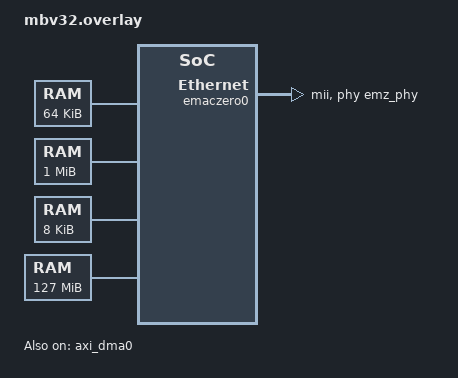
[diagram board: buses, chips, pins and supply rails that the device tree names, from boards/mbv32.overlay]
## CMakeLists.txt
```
# SPDX-License-Identifier: Apache-2.0
# Copyright (c) 2026 Leonardo Capossio - bard0 design

cmake_minimum_required(VERSION 3.20.0)

list(APPEND ZEPHYR_EXTRA_MODULES ${CMAKE_CURRENT_LIST_DIR}/..)

find_package(Zephyr REQUIRED HINTS $ENV{ZEPHYR_BASE})
project(emacz_zephyr_app)

target_sources(app PRIVATE src/main.c src/provision.c)
target_sources_ifdef(CONFIG_EMACZ_APP_PC_SAMPLE app PRIVATE src/pc_sample.c)

# Profiled hot functions packed at the start of .text (EMACZ_APP_HOT_TEXT)
set(hot_text ${CMAKE_CURRENT_LIST_DIR}/boards/${BOARD}_hot_text.ld)
if(CONFIG_EMACZ_APP_HOT_TEXT AND EXISTS ${hot_text})
  zephyr_linker_sources(TEXT_SECTIONS ${hot_text})
endif()
```

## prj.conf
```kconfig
# SPDX-License-Identifier: Apache-2.0
# Copyright (c) 2026 Leonardo Capossio - bard0 design

CONFIG_MAIN_STACK_SIZE=2048
CONFIG_HEAP_MEM_POOL_SIZE=4096
CONFIG_SPEED_OPTIMIZATIONS=y
CONFIG_CRC=y
CONFIG_UART_CONSOLE=n
CONFIG_NETWORKING=y
CONFIG_NET_L2_ETHERNET=y
# Room for the Ethernet header in each IP packet's buffer: the driver copies
# one word-aligned frame into its DMA buffer instead of the IP packet to
# offset 14, and the UDP payload lands 2 bytes into a word, as on RX.
CONFIG_NET_L2_ETHERNET_RESERVE_HEADER=y
CONFIG_DMA=y
CONFIG_EMACZ_APP_RAW_UART=y
# emacZero driver from deps/zephyr (patches/zephyr/0004). RX buffers live in
# the overlay's emz_bufs region: 64 stay posted to S2MM and up to 56 more are
# lent to the stack; past that, frames are copied into the 8 copy buffers.
CONFIG_ETH_EMACZERO=y
CONFIG_ETH_EMACZERO_RX_BUFFER_COUNT=128
CONFIG_ETH_EMACZERO_RX_DMA_POST_COUNT=64
CONFIG_ETH_EMACZERO_RX_ZERO_COPY_MAX=56
CONFIG_ETH_EMACZERO_RX_COPY_BUFFER_COUNT=8
CONFIG_ETH_EMACZERO_TX_BUFFER_COUNT=16
# Under a flood the cooperative RX path (driver RX thread, UDP sink) would
# keep the CPU, starving the control thread and its TX benchmark (priority
# 4). After 20 ms of RX in a row the RX thread drops to priority 4 and back,
# so a ready sender gets its 20 ms time slice: roughly equal turns on any
# CPU. With no sender ready, RX loses nothing.
CONFIG_ETH_EMACZERO_RX_BUDGET_US=20000
CONFIG_ETH_EMACZERO_RX_YIELD_PRIORITY=4
CONFIG_TIMESLICING=y
CONFIG_TIMESLICE_SIZE=20
CONFIG_TIMESLICE_PRIORITY=0
CONFIG_NET_IPV4=y
CONFIG_NET_IPV4_MTU=1500
CONFIG_NET_IPV6=n
CONFIG_NET_TCP=n
CONFIG_NET_UDP_CHECKSUM=n
CONFIG_NET_SOCKETS=y
CONFIG_NET_ZPERF=n
# The perf-stats block mirrors the stack's counters, read through net_mgmt
CONFIG_NET_STATISTICS=y
CONFIG_NET_STATISTICS_ETHERNET=y
CONFIG_NET_STATISTICS_USER_API=y
CONFIG_NET_MGMT=y
CONFIG_NET_PKT_FILTER=n
CONFIG_NET_TC_RX_COUNT=0
CONFIG_NET_TC_TX_COUNT=0
# One per frame the driver can have in the stack: lent plus copied, and spare
CONFIG_NET_PKT_RX_COUNT=96
CONFIG_NET_PKT_TX_COUNT=24
CONFIG_NET_BUF_RX_COUNT=32
CONFIG_NET_BUF_TX_COUNT=64
CONFIG_NET_BUF_DATA_SIZE=1600
# The count is never reached (8 RX buffers posted, 16 TX buffers), so the
# delay, 32 * 125 DMA clocks (40 us), raises the interrupts: about one per
# frame on a 100 Mbit/s link. Every 4 frames measured no faster on the Arty
# (README, Throughput)
CONFIG_DMA_XILINX_AXI_DMA_INTERRUPT_THRESHOLD=32
CONFIG_DMA_XILINX_AXI_DMA_INTERRUPT_TIMEOUT=32
# Fixed descriptor rings. Each must be larger than what the emacZero driver
# keeps queued on it (RX_DMA_POST_COUNT, TX_BUFFER_COUNT), so one descriptor
# always stays free behind the outstanding ones.
CONFIG_DMA_XILINX_AXI_DMA_SG_DESCRIPTOR_NUM_RX=128
CONFIG_DMA_XILINX_AXI_DMA_SG_DESCRIPTOR_NUM_TX=32
CONFIG_NET_CONFIG_SETTINGS=n
CONFIG_LOG=n
CONFIG_NET_LOG=n
CONFIG_TEST_RANDOM_GENERATOR=y

# Per-board timer frequency lives in app/boards/<board>.conf so this file
# stays CPU-neutral across the mbv32 and arty_a7_vex targets.
```

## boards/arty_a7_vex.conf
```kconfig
# SPDX-License-Identifier: Apache-2.0
# Copyright (c) 2026 Leonardo Capossio - bard0 design

# The SoC domain (CPU, AXI fabrics, peripherals, riscv_mtimer) runs at
# 100 MHz from clock_root/clk100. mtimer/aclk is tied to that same net, so
# this is the machine-timer input frequency. MIG's ui_clk stays at
# 81.25 MHz and is crossed inside ddr_axi_ic (smartconnect, NUM_CLKS 2) --
# the CDC is real, it is just not on the timer path.
CONFIG_SYS_CLOCK_HW_CYCLES_PER_SEC=100000000

# The emacZero frame buffers sit in the D-cache aperture (emz_bufs in the
# overlay): the AXI DMA driver cleans each TX buffer before MM2S reads it
# and invalidates each RX buffer around the S2MM write.
CONFIG_CACHE_MANAGEMENT=y
CONFIG_DMA_XILINX_AXI_DMA_MANUAL_CACHE_COHERENCY=y

# MM2S sends each frame straight from the network buffer that holds it
# (cacheable RAM, cleaned by the AXI DMA driver) instead of a copy in
# emz_bufs.
CONFIG_ETH_EMACZERO_TX_ZERO_COPY=y
```

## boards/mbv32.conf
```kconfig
# SPDX-License-Identifier: Apache-2.0
# Copyright (c) 2026 Leonardo Capossio - bard0 design

# The AXI Timer runs on the shell's 100 MHz SoC clock (SOC_CLK_HZ in
# hardware/scripts/build_arty_a7_mbv.py). Firmware-visible cycles_per_sec must
# match it, or every board-derived rate is biased.
CONFIG_SYS_CLOCK_HW_CYCLES_PER_SEC=100000000

# The upstream board leaves serial off; the status prints use the UARTLite.
# With a UART driver on, the mbv32 SoC selects UART_CONSOLE, overriding
# prj.conf: only the boot banner and fault dumps reach it, as the app
# does not printk.
CONFIG_SERIAL=y
CONFIG_UART_CONSOLE=y

# The emacZero frame buffers sit in the D-cache aperture (emz_bufs in the
# overlay): the AXI DMA driver cleans each TX buffer before MM2S reads it
# and invalidates each RX buffer around the S2MM write.
CONFIG_CACHE_MANAGEMENT=y
CONFIG_DMA_XILINX_AXI_DMA_MANUAL_CACHE_COHERENCY=y

# MM2S sends each frame straight from the network buffer that holds it
# (cacheable RAM, cleaned by the AXI DMA driver) instead of a copy in
# emz_bufs.
CONFIG_ETH_EMACZERO_TX_ZERO_COPY=y
```

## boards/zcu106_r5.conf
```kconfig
# SPDX-License-Identifier: Apache-2.0
# Copyright (c) 2026 Leonardo Capossio - bard0 design

# The frame buffers are cacheable (zcu106_r5.overlay) and the DMA does not
# snoop the D-cache: the AXI DMA driver cleans TX buffers before MM2S reads
# them and invalidates RX buffers before and after S2MM writes them.
CONFIG_DMA_XILINX_AXI_DMA_MANUAL_CACHE_COHERENCY=y
```

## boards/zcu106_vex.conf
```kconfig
# SPDX-License-Identifier: Apache-2.0
# Copyright (c) 2026 Leonardo Capossio - bard0 design

# The emacZero frame buffers sit in the D-cache aperture (emz_bufs in the
# overlay): the AXI DMA driver cleans each TX buffer before MM2S reads it
# and invalidates each RX buffer around the S2MM write.
CONFIG_CACHE_MANAGEMENT=y
CONFIG_DMA_XILINX_AXI_DMA_MANUAL_CACHE_COHERENCY=y

# MM2S sends each frame straight from the network buffer that holds it
# (cacheable RAM, cleaned by the AXI DMA driver) instead of a copy in
# emz_bufs.
CONFIG_ETH_EMACZERO_TX_ZERO_COPY=y
```

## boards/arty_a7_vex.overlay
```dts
/*
 * SPDX-License-Identifier: Apache-2.0
 * Copyright (c) 2026 Leonardo Capossio - bard0 design
 *
 * App-side overlay for arty_a7_vex. Mirrors mbv32.overlay's emacZero/DMA
 * layout with two differences:
 *   - IRQ index order matches hardware/scripts/build_arty_a7_vex.py's
 *     xlconcat (uart=0, gpio=1, mm2s=2, s2mm=3, emaczero=4), NOT the mbv
 *     shell's numbering.
 *   - There is only one AXI bus root in the DTS (soc/simple-bus), so we
 *     add nodes directly to the base DTS's root (no &axi label needed).
 *
 * Address map (verified against build_arty_a7_vex.py):
 *   emacZero        @ 0x44A00000
 *   AXI DMA         @ 0x41E00000
 *   axis_rx_stats   @ 0x41F00000
 *   AXI INTC        @ 0x41200000
 *   UARTLite        @ 0x40600000
 *   DDR             @ 0x90000000 (127 MiB Zephyr, then the 1 MiB frame
 *                     buffers at the top of the D-cache aperture; the
 *                     uncached window at 0x9F000000 holds the 64 KiB SG
 *                     descriptors and the 8 KiB host page at 0x9FFFE000)
 */

/ {
	/* Uncached (outside the CPU D-cache aperture) home for the AXI DMA
	 * scatter-gather descriptor rings.
	 */
	dma_desc: memory@9f000000 {
		compatible = "zephyr,memory-region";
		reg = <0x9f000000 0x10000>;
		zephyr,memory-region = "DMA_DESC";
	};

	/* emacZero RX and TX packet buffers, in the top 1 MiB of the D-cache
	 * aperture (0x90000000-0x97FFFFFF): the stack's copies out of and into
	 * them run on cached lines, and the DMA driver keeps them coherent
	 * (CACHE_MANAGEMENT in arty_a7_vex.conf).
	 */
	emz_bufs: memory@97f00000 {
		compatible = "zephyr,memory-region";
		reg = <0x97f00000 0x100000>;
		zephyr,memory-region = "EMZ_BUFFERS";
	};

	/* Host-visible page at fixed addresses the host tools reach over
	 * JTAG-AXI: the provisioning mailbox, then the app's perf stats.
	 */
	emz_hostio: memory@9fffe000 {
		compatible = "zephyr,memory-region";
		reg = <0x9fffe000 0x2000>;
		zephyr,memory-region = "EMZ_HOSTIO";
	};

	/* The MII PHY is not managed by software; the link is fixed at
	 * 100 Mbit/s full duplex. The parent node only supplies the address
	 * cells for the PHY's reg.
	 */
	emz_phy_bus {
		#address-cells = <1>;
		#size-cells = <0>;

		emz_phy: ethernet-phy@0 {
			compatible = "ethernet-phy";
			reg = <0>;
			fixed-link = "100BASE-T Full-Duplex";
		};
	};

	aliases {
		ethernet0 = &emaczero0;
	};

	soc {
		emaczero0: ethernet@44a00000 {
			compatible = "bard0,emaczero";
			status = "okay";
			reg = <0x44a00000 0x100>;
			interrupt-parent = <&intc0>;
			interrupts = <4 2>;
			axistream-connected = <&axi_dma0>;
			local-mac-address = [02 00 00 00 00 01];
			phy-connection-type = "mii";
			phy-handle = <&emz_phy>;
			memory-region = <&emz_bufs>;
		};

		axi_dma0: dma@41e00000 {
			compatible = "xlnx,axi-dma-1.00.a";
			status = "okay";
			reg = <0x41e00000 0x10000>;
			interrupt-parent = <&intc0>;
			interrupts = <2 2 3 2>;
			interrupt-names = "mm2s_introut", "s2mm_introut";
			#dma-cells = <0>;
			dma-channels = <2>;
			xlnx,addrwidth = <32>;
			memory-region = <&dma_desc>;
		};
	};
};

/* Zephyr's RAM stops where the frame buffers start */
&ram0 {
	reg = <0x90000000 0x07f00000>;
};
```

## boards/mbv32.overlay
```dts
/*
 * SPDX-License-Identifier: Apache-2.0
 * Copyright (c) 2026 Leonardo Capossio - bard0 design
 */

/ {
	/delete-node/ memory@80000000;

	/* Uncached (outside the CPU D-cache aperture) home for the AXI DMA
	 * scatter-gather descriptor rings.
	 */
	dma_desc: memory@9f000000 {
		compatible = "zephyr,memory-region";
		reg = <0x9f000000 0x10000>;
		zephyr,memory-region = "DMA_DESC";
	};

	/* emacZero RX and TX packet buffers, in the top 1 MiB of the D-cache
	 * aperture (0x90000000-0x97FFFFFF): the stack's copies out of and into
	 * them run on cached lines, and the DMA driver keeps them coherent
	 * (CACHE_MANAGEMENT in mbv32.conf).
	 */
	emz_bufs: memory@97f00000 {
		compatible = "zephyr,memory-region";
		reg = <0x97f00000 0x100000>;
		zephyr,memory-region = "EMZ_BUFFERS";
	};

	/* Host-visible page at fixed addresses the host tools reach over
	 * JTAG-AXI: the provisioning mailbox, then the app's perf stats.
	 */
	emz_hostio: memory@9fffe000 {
		compatible = "zephyr,memory-region";
		reg = <0x9fffe000 0x2000>;
		zephyr,memory-region = "EMZ_HOSTIO";
	};

	/* The MII PHY is not managed by software; the link is fixed at
	 * 100 Mbit/s full duplex. The parent node only supplies the address
	 * cells for the PHY's reg.
	 */
	emz_phy_bus {
		#address-cells = <1>;
		#size-cells = <0>;

		emz_phy: ethernet-phy@0 {
			compatible = "ethernet-phy";
			reg = <0>;
			fixed-link = "100BASE-T Full-Duplex";
		};
	};

	/* stops where the frame buffers start */
	ram0: memory@90000000 {
		device_type = "memory";
		reg = <0x90000000 0x07f00000>;
	};

	aliases {
		ethernet0 = &emaczero0;
	};

	/* uart0, the shell's AXI UARTLite at 0x40600000, stays the console */
	chosen {
		/delete-property/ bootargs;
		/delete-property/ stdout-path;
	};
};

&axi_gpio {
	status = "disabled";
};

&axi_intc {
	xlnx,kind-of-intr = <0x0a>;
};

/*
 * The CPU, the AXI fabric and the AXI Timer that backs
 * sys_clock_cycle_get_32 run on the shell's 100 MHz SoC clock (SOC_CLK_HZ in
 * hardware/scripts/build_arty_a7_mbv.py), as in the VexRiscv shell.
 */
&clk100 {
	clock-frequency = <100000000>;
};

/* 16 KiB write-through D-cache with 4-word lines (build_arty_a7_mbv.py);
 * the line size also turns on the SoC's cache management (patch 0008)
 */
&cpu_0 {
	clock-frequency = <100000000>;
	d-cache-line-size = <16>;
};

&cpus {
	timebase-frequency = <100000000>;
};

/*
 * Arty A7-100T MicroBlaze V example integration point.
 *
 * Keep this address map synchronized with the Vivado block design that
 * instantiates MicroBlaze V, AXI INTC, AXI Timer, UARTLite, and emacZero.
 */
&axi {
	emaczero0: ethernet@44a00000 {
		compatible = "bard0,emaczero";
		status = "okay";
		reg = <0x44a00000 0x100>;
		interrupt-parent = <&axi_intc>;
		interrupts = <5 2>;
		axistream-connected = <&axi_dma0>;
		local-mac-address = [02 00 00 00 00 01];
		phy-connection-type = "mii";
		phy-handle = <&emz_phy>;
		memory-region = <&emz_bufs>;
	};

	axi_dma0: dma@41e00000 {
		compatible = "xlnx,axi-dma-1.00.a";
		status = "okay";
		reg = <0x41e00000 0x10000>;
		interrupt-parent = <&axi_intc>;
		interrupts = <6 2 7 2>;
		interrupt-names = "mm2s_introut", "s2mm_introut";
		#dma-cells = <0>;
		dma-channels = <2>;
		xlnx,addrwidth = <32>;
		memory-region = <&dma_desc>;
	};
};
```

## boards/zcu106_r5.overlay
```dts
/*
 * SPDX-License-Identifier: Apache-2.0
 * Copyright (c) 2026 Leonardo Capossio - bard0 design
 *
 * App-side overlay for zcu106_r5: the Vex shells' emacZero/DMA layout,
 * reached by Cortex-R5 #0 over M_AXI_HPM0_LPD, with the DMA memory in PS
 * DDR and the link fixed at 1 Gbit/s (1000BASE-X on SFP0).
 *
 * Address map (verified against hardware/scripts/build_zcu106.py):
 *   PCS/PMA status  @ 0x80010000 (AXI GPIO, read by the host tools)
 *   AXI DMA         @ 0x81E00000
 *   axis_rx_stats   @ 0x81F00000
 *   emacZero        @ 0x84A00000
 *   PL interrupts   pl_ps_irq0[3:0] = GIC SPI 89..92: pcs_gpio, mm2s,
 *                   s2mm, emaczero
 *   DDR (MPU regions, reached by the DMA through S_AXI_HP0_FPD): frame
 *   buffers at 0x07C00000, SG descriptors at 0x07E00000, the 8 KiB host
 *   page at 0x07FFE000. All of it is above the 64 MiB Zephyr RAM and clear
 *   of the TCM window at 0x0.
 *
 * Each MPU region must be a power of two in size, aligned to its size.
 * HP0_FPD does not snoop the R5's D-cache. The frame buffers are cacheable,
 * so the socket copy out of them reads whole lines, and the AXI DMA driver
 * cleans and invalidates them around each transfer (zcu106_r5.conf). The
 * descriptors and the host page, which the host reads over JTAG-AXI, stay
 * non-cacheable.
 */

#include <zephyr/dt-bindings/interrupt-controller/arm-gic.h>
#include <zephyr/dt-bindings/memory-attr/memory-attr-arm.h>

/ {
	emz_bufs: memory@7c00000 {
		compatible = "zephyr,memory-region";
		reg = <0x07c00000 DT_SIZE_M(2)>;
		zephyr,memory-region = "EMZ_BUFFERS";
		zephyr,memory-attr = <DT_MEM_ARM(ATTR_MPU_RAM)>;
	};

	dma_desc: memory@7e00000 {
		compatible = "zephyr,memory-region";
		reg = <0x07e00000 DT_SIZE_K(64)>;
		zephyr,memory-region = "DMA_DESC";
		zephyr,memory-attr = <DT_MEM_ARM(ATTR_MPU_RAM_NOCACHE)>;
	};

	/* Host-visible page at fixed addresses the host tools reach over
	 * JTAG-AXI: the provisioning mailbox, then the app's perf stats.
	 */
	emz_hostio: memory@7ffe000 {
		compatible = "zephyr,memory-region";
		reg = <0x07ffe000 DT_SIZE_K(8)>;
		zephyr,memory-region = "EMZ_HOSTIO";
		zephyr,memory-attr = <DT_MEM_ARM(ATTR_MPU_RAM_NOCACHE)>;
	};

	/* 1000BASE-X has no PHY to manage, and Zephyr has no PCS driver for
	 * the AMD core: the link is fixed at 1 Gbit/s full duplex. The PCS
	 * status (link, sync) is in the status GPIO. The parent node only
	 * supplies the address cells for the PHY's reg.
	 */
	emz_phy_bus {
		#address-cells = <1>;
		#size-cells = <0>;

		emz_phy: ethernet-phy@0 {
			compatible = "ethernet-phy";
			reg = <0>;
			fixed-link = "1000BASE-T Full-Duplex";
		};
	};

	aliases {
		ethernet0 = &emaczero0;
	};

	soc {
		emaczero0: ethernet@84a00000 {
			compatible = "bard0,emaczero";
			status = "okay";
			reg = <0x84a00000 0x100>;
			interrupts = <GIC_SPI 92 IRQ_TYPE_LEVEL IRQ_DEFAULT_PRIORITY>;
			axistream-connected = <&axi_dma0>;
			/* the Arty boards use :01; a ZCU106 may share their segment */
			local-mac-address = [02 00 00 00 00 03];
			phy-connection-type = "gmii";
			phy-handle = <&emz_phy>;
			memory-region = <&emz_bufs>;
		};

		axi_dma0: dma@81e00000 {
			compatible = "xlnx,axi-dma-1.00.a";
			status = "okay";
			reg = <0x81e00000 0x10000>;
			interrupts = <GIC_SPI 90 IRQ_TYPE_LEVEL IRQ_DEFAULT_PRIORITY>,
				     <GIC_SPI 91 IRQ_TYPE_LEVEL IRQ_DEFAULT_PRIORITY>;
			interrupt-names = "mm2s_introut", "s2mm_introut";
			#dma-cells = <0>;
			dma-channels = <2>;
			xlnx,addrwidth = <32>;
			memory-region = <&dma_desc>;
		};
	};
};
```

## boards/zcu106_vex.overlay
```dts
/*
 * SPDX-License-Identifier: Apache-2.0
 * Copyright (c) 2026 Leonardo Capossio - bard0 design
 *
 * App-side overlay for zcu106_vex: the arty_a7_vex overlay's emacZero/DMA
 * layout and memory map, with the link fixed at 1 Gbit/s (1000BASE-X on
 * SFP0).
 *
 * Address map (verified against hardware/scripts/build_zcu106.py):
 *   emacZero        @ 0x44A00000
 *   AXI DMA         @ 0x41E00000
 *   axis_rx_stats   @ 0x41F00000
 *   AXI INTC        @ 0x41200000
 *   UARTLite        @ 0x40600000
 *   PCS/PMA status  @ 0x40010000 (AXI GPIO, read by the host tools)
 *   PS DDR4         @ 0x90000000 (127 MiB Zephyr, then the 1 MiB frame
 *                     buffers at the top of the D-cache aperture; the
 *                     uncached window at 0x9F000000 holds the 64 KiB SG
 *                     descriptors and the 8 KiB host page at 0x9FFFE000)
 */

/ {
	/* Uncached (outside the CPU D-cache aperture) home for the AXI DMA
	 * scatter-gather descriptor rings.
	 */
	dma_desc: memory@9f000000 {
		compatible = "zephyr,memory-region";
		reg = <0x9f000000 0x10000>;
		zephyr,memory-region = "DMA_DESC";
	};

	/* emacZero RX and TX packet buffers, in the top 1 MiB of the D-cache
	 * aperture (0x90000000-0x97FFFFFF): the stack's copies out of and into
	 * them run on cached lines, and the DMA driver keeps them coherent
	 * (CACHE_MANAGEMENT in zcu106_vex.conf).
	 */
	emz_bufs: memory@97f00000 {
		compatible = "zephyr,memory-region";
		reg = <0x97f00000 0x100000>;
		zephyr,memory-region = "EMZ_BUFFERS";
	};

	/* Host-visible page at fixed addresses the host tools reach over
	 * JTAG-AXI: the provisioning mailbox, then the app's perf stats.
	 */
	emz_hostio: memory@9fffe000 {
		compatible = "zephyr,memory-region";
		reg = <0x9fffe000 0x2000>;
		zephyr,memory-region = "EMZ_HOSTIO";
	};

	/* 1000BASE-X has no PHY to manage, and Zephyr has no PCS driver for
	 * the AMD core: the link is fixed at 1 Gbit/s full duplex. The PCS
	 * status (link, sync) is in the status GPIO. The parent node only
	 * supplies the address cells for the PHY's reg.
	 */
	emz_phy_bus {
		#address-cells = <1>;
		#size-cells = <0>;

		emz_phy: ethernet-phy@0 {
			compatible = "ethernet-phy";
			reg = <0>;
			fixed-link = "1000BASE-T Full-Duplex";
		};
	};

	aliases {
		ethernet0 = &emaczero0;
	};

	soc {
		emaczero0: ethernet@44a00000 {
			compatible = "bard0,emaczero";
			status = "okay";
			reg = <0x44a00000 0x100>;
			interrupt-parent = <&intc0>;
			interrupts = <4 2>;
			axistream-connected = <&axi_dma0>;
			/* the Arty boards use :01; a ZCU106 may share their segment */
			local-mac-address = [02 00 00 00 00 02];
			phy-connection-type = "gmii";
			phy-handle = <&emz_phy>;
			memory-region = <&emz_bufs>;
		};

		axi_dma0: dma@41e00000 {
			compatible = "xlnx,axi-dma-1.00.a";
			status = "okay";
			reg = <0x41e00000 0x10000>;
			interrupt-parent = <&intc0>;
			interrupts = <2 2 3 2>;
			interrupt-names = "mm2s_introut", "s2mm_introut";
			#dma-cells = <0>;
			dma-channels = <2>;
			xlnx,addrwidth = <32>;
			memory-region = <&dma_desc>;
		};
	};
};

/* Zephyr's RAM stops where the frame buffers start */
&ram0 {
	reg = <0x90000000 0x07f00000>;
};
```

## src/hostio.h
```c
/*
 * SPDX-License-Identifier: Apache-2.0
 * Copyright (c) 2026 Leonardo Capossio - bard0 design
 */

#ifndef EMACZ_HOSTIO_H_
#define EMACZ_HOSTIO_H_

#include <zephyr/devicetree.h>
#include <zephyr/toolchain.h>

/*
 * Host-visible page at the top of the uncached DMA window, reserved by the
 * board overlay's emz_hostio node. The host tools reach it over JTAG-AXI at
 * fixed addresses, so the layout is:
 *   +0x0000 (0x9FFFE000): struct emacz_jtag_mailbox (provision.h)
 *   +0x1000 (0x9FFFF000): struct emacz_perf_stats (perf_stats.h)
 * Being uncached, plain volatile accesses see host writes and vice versa.
 */
#define EMACZ_HOSTIO_NODE DT_NODELABEL(emz_hostio)
#define EMACZ_JTAG_MAILBOX_ADDR DT_REG_ADDR(EMACZ_HOSTIO_NODE)
#define EMACZ_PERF_STATS_ADDR (DT_REG_ADDR(EMACZ_HOSTIO_NODE) + 0x1000u)
#define EMACZ_HOSTIO_SLOT_SIZE 0x1000u

BUILD_ASSERT(DT_REG_SIZE(EMACZ_HOSTIO_NODE) >= 2u * EMACZ_HOSTIO_SLOT_SIZE,
	     "emz_hostio must hold the JTAG mailbox and the perf-stats block");

#endif /* EMACZ_HOSTIO_H_ */
```

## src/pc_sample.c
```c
/*
 * SPDX-License-Identifier: Apache-2.0
 * Copyright (c) 2026 Leonardo Capossio - bard0 design
 *
 * Program-counter sampler for profiling on the soft CPUs, which have no
 * instruction counter. A timer records the interrupted pc and ra of every
 * busy tick into a buffer in uncached memory (the emz_pcs node of
 * app/perf/pc_sample.overlay); scripts/read_pc_samples.py arms it over
 * JTAG-AXI, reads it back and names the functions from the ELF.
 *
 * The buffer only fills while the host has armed it, and stops when full,
 * so it holds the start of the run the host is measuring. Ticks that land
 * in the idle thread are only counted.
 */

#include <zephyr/kernel.h>
#include <zephyr/devicetree.h>

#define PCS_NODE  DT_NODELABEL(emz_pcs)
#define PCS_MAGIC 0x50435331u /* "PCS1" */
/* off any multiple of the 50 ms usage thread and the 1 s main loop; rounds
 * up to a whole tick
 */
#define PCS_PERIOD K_USEC(1100)

struct pcs_buf {
	uint32_t magic;
	/* the host sets it to start a run; cleared when the buffer is full */
	uint32_t armed;
	uint32_t capacity;
	uint32_t count;
	uint32_t idle;
	uint32_t reserved[3];
	struct {
		uint32_t pc;
		uint32_t ra;
	} sample[];
};

#define PCS_CAPACITY ((DT_REG_SIZE(PCS_NODE) - sizeof(struct pcs_buf)) / 8u)
#define pcs ((volatile struct pcs_buf *)DT_REG_ADDR(PCS_NODE))

static void pcs_tick(struct k_timer *timer)
{
	/*
	 * The ISR wrapper (arch/riscv/core/isr.S) saves the interrupted
	 * context, then leaves a pointer to it 16 bytes below the top of the
	 * IRQ stack before running the handler; Zephyr's perf backend reads it
	 * the same way.
	 */
	const struct arch_esf *esf =
		*(struct arch_esf **)((uintptr_t)_current_cpu->irq_stack - 16);
	uint32_t n;

	ARG_UNUSED(timer);

	if (!pcs->armed) {
		return;
	}
	if (k_thread_priority_get(k_current_get()) == K_IDLE_PRIO) {
		pcs->idle++;
		return;
	}

	n = pcs->count;
	pcs->sample[n].pc = (uint32_t)esf->mepc;
	pcs->sample[n].ra = (uint32_t)esf->ra;
	pcs->count = ++n;
	if (n >= PCS_CAPACITY) {
		pcs->armed = 0;
	}
}

static K_TIMER_DEFINE(pcs_timer, pcs_tick, NULL);

void pc_sample_start(void)
{
	pcs->armed = 0;
	pcs->count = 0;
	pcs->idle = 0;
	pcs->capacity = PCS_CAPACITY;
	pcs->magic = PCS_MAGIC;
	k_timer_start(&pcs_timer, PCS_PERIOD, PCS_PERIOD);
}
```

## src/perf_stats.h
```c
/*
 * SPDX-License-Identifier: Apache-2.0
 * Copyright (c) 2026 Leonardo Capossio - bard0 design
 */

#ifndef EMACZ_PERF_STATS_H_
#define EMACZ_PERF_STATS_H_

#include <stdint.h>

#include <zephyr/toolchain.h>

#include "hostio.h"

#define EMACZ_PERF_STATS_MAGIC 0x45505a53u
/* scripts/read_perf_stats.py mirrors this layout; bump both together. */
#define EMACZ_PERF_STATS_VERSION 22u

/*
 * Counters the app can see from outside the driver: the MAC's own registers,
 * the network stack's statistics and the UDP sink. Written by the app only.
 */
struct emacz_perf_stats {
	uint32_t magic;
	uint32_t version;
	uint32_t cycles_per_sec;
	uint32_t rx_buffer_count;
	uint32_t uptime_ms;
	uint32_t cycle_delta_1s;
	uint32_t cycle_delta_30s;
	uint32_t mac_rx_frames;
	uint32_t mac_rx_bytes;
	uint32_t mac_rx_err;
	uint32_t mac_rx_err_align;
	uint32_t mac_rx_err_overflow;
	uint32_t mac_rx_err_oversize;
	/* frames the MAC dropped whole: no RX FIFO room at their start */
	uint32_t mac_rx_drop;
	uint32_t mac_rx_bcast;
	uint32_t mac_rx_mcast;
	uint32_t mac_rx_size_1024_1518;
	uint32_t mac_tx_frames;
	uint32_t mac_tx_bytes;
	uint32_t gate_magic;
	uint32_t gate_good_frames;
	uint32_t gate_dropped_bad_frames;
	uint32_t gate_dropped_overflow_frames;
	uint32_t gate_drain_samples;
	uint32_t gate_drain_cycles_total;
	uint32_t gate_drain_cycles_max;
	uint32_t gate_drain_lt_50us;
	uint32_t gate_drain_50_100us;
	uint32_t gate_drain_100_200us;
	uint32_t gate_drain_200_500us;
	uint32_t gate_drain_ge_500us;
	uint32_t gate_drain_tready_low_cycles;
	uint32_t gate_drain_tready_low_cycles_max;
	uint32_t gate_drain_tready_low_samples;
	/*
	 * Ethernet errors.rx: frames the MAC rejected or dropped whole (RX_DROP)
	 * plus frames the driver dropped
	 */
	uint32_t eth_rx_errors;
	/* AXI DMA errors that halted S2MM / MM2S; each one starts a recovery */
	uint32_t eth_rx_dma_failed;
	uint32_t eth_tx_dma_failed;
	uint32_t net_ipv4_recv;
	uint32_t net_ipv4_drop;
	uint32_t net_udp_recv;
	uint32_t net_udp_drop;
	uint32_t net_udp_chkerr;
	uint32_t net_processing_error;
	uint32_t net_ip_vhlerr;
	uint32_t net_ip_hblenerr;
	uint32_t net_ip_lblenerr;
	uint32_t net_ip_fragerr;
	uint32_t net_ip_chkerr;
	uint32_t net_ip_protoerr;
	uint32_t net_icmp_recv;
	uint32_t net_icmp_sent;
	uint32_t net_icmp_drop;
	uint32_t net_icmp_typeerr;
	/*
	 * Seqlock over the sink_* block below: odd while the sink thread is
	 * mid-update. Readers that see it odd, or changed across their read,
	 * retry. 64-bit counters are two stores on RV32, so a read without it
	 * can be torn.
	 */
	uint32_t sink_seq;
	uint64_t sink_packets;
	uint64_t sink_bytes;
	uint64_t sink_recv_errors;
	uint64_t sink_eagain;
	uint64_t sink_recvfrom_calls;
	uint64_t sink_recvfrom_cycles_total;
	uint32_t sink_recvfrom_cycles_max;
	uint32_t sink_last_errno;
	/*
	 * k_cycle_get_32() at the first packet after the sink had been idle
	 * 1 s or more, and at the latest packet: the board's receive window
	 * for the current burst
	 */
	uint32_t sink_first_cycle;
	uint32_t sink_last_cycle;
	uint32_t sink_last_len;
	/*
	 * CONFIG_EMACZ_APP_THREAD_USAGE, else 0: low 32 bits of the cycles each
	 * thread has run, refreshed every 50 ms, so deltas wrap after 2^32
	 * cycles (43 s at 100 MHz). ISR time counts to the interrupted thread.
	 */
	uint32_t ru_samples;
	/* every thread, idle included: elapsed cycles */
	uint32_t ru_all_cycles;
	uint32_t ru_idle_cycles;
	/* the driver RX thread, which runs the stack's RX path inline */
	uint32_t ru_rx_cycles;
	uint32_t ru_sink_cycles;
	uint32_t ru_control_cycles;
	uint32_t ru_main_cycles;
	uint32_t ru_workq_cycles;
	/* the thread that writes this block */
	uint32_t ru_usage_cycles;
};

BUILD_ASSERT(sizeof(struct emacz_perf_stats) <= EMACZ_HOSTIO_SLOT_SIZE,
	     "perf stats must fit their slot of emz_hostio");

/* The live block; the name differs from the struct tag so both stay usable */
#define emacz_perf (*(volatile struct emacz_perf_stats *)EMACZ_PERF_STATS_ADDR)

#endif /* EMACZ_PERF_STATS_H_ */
```

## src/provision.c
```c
/*
 * SPDX-License-Identifier: Apache-2.0
 * Copyright (c) 2026 Leonardo Capossio - bard0 design
 */

/* Subnet-independent emacZero discovery and IPv4 provisioning. */

#include <errno.h>
#include <string.h>

#include <zephyr/kernel.h>
#include <zephyr/net/ethernet.h>
#include <zephyr/net/net_if.h>
#include <zephyr/net/net_ip.h>
#include <zephyr/net/socket.h>
#include <zephyr/sys/byteorder.h>
#include <zephyr/sys/crc.h>

#include "hostio.h"
#include "provision.h"

/* Mailbox is uncached DDR (see DBusCached I/O predicate in the vex build).
 * A plain volatile pointer therefore observes host writes with no fence,
 * and vice-versa. Do NOT add cache maintenance here — the region is I/O by
 * construction; a stray flush against uncached memory is a nop on this CPU
 * but signals confusion about the mapping.
 */
BUILD_ASSERT(sizeof(struct emacz_jtag_mailbox) <= EMACZ_HOSTIO_SLOT_SIZE);
#define emacz_jtag_mailbox (*(volatile struct emacz_jtag_mailbox *)EMACZ_JTAG_MAILBOX_ADDR)

#define PROV_MAGIC 0x455a4346u /* "EZCF" */
#define PROV_VERSION 1u
#define PROV_PACKET_SIZE 36u
#define PROV_CRC_OFFSET 32u
#define PROV_THREAD_STACK_SIZE 2048u
#define PROV_THREAD_PRIORITY -3
#define PROV_MULTICAST_ADDR 0xefff4d5au /* 239.255.77.90 */
/* How often the JTAG mailbox is polled while no request arrives */
#define PROV_MAILBOX_POLL_MS 100

enum prov_op {
	PROV_DISCOVER = 1,
	PROV_OFFER = 2,
	PROV_CONFIG = 3,
	PROV_ACK = 4,
	PROV_NACK = 5,
};

enum prov_status {
	PROV_OK = 0,
	PROV_BAD_REQUEST = 1,
	PROV_BAD_TOKEN = 2,
	PROV_BAD_ADDRESS = 3,
	PROV_APPLY_FAILED = 4,
};

struct prov_message {
	uint8_t version;
	uint8_t op;
	uint8_t status;
	uint8_t prefix;
	uint32_t xid;
	uint8_t mac[NET_ETH_ADDR_LEN];
	struct in_addr ip;
	struct in_addr gateway;
	uint32_t token;
};

static struct net_if *prov_iface;
static struct in_addr prov_addr;
/* Whether prov_addr is actually attached to prov_iface. False when the
 * bootstrap add failed at startup, in which case there is nothing to remove
 * before installing the first host-supplied address.
 */
static bool prov_addr_installed;
static struct in_addr prov_gateway;
static uint8_t prov_prefix;
static uint32_t prov_token;
static uint32_t prov_xid;
static uint8_t prov_mac[NET_ETH_ADDR_LEN];
/* Replies go out on their own socket, bound to prov_addr: see open_reply_sock() */
static int prov_reply_sock = -1;
K_THREAD_STACK_DEFINE(prov_thread_stack, PROV_THREAD_STACK_SIZE);
static struct k_thread prov_thread;

static void prefix_to_mask(uint8_t prefix, struct in_addr *mask)
{
	uint32_t value = prefix == 0u ? 0u : UINT32_MAX << (32u - prefix);

	sys_put_be32(value, mask->s4_addr);
}

static bool addr_is_usable(const struct in_addr *addr, uint8_t prefix,
			   const struct in_addr *gateway)
{
	uint32_t ip = sys_get_be32(addr->s4_addr);
	uint32_t gw = sys_get_be32(gateway->s4_addr);
	uint32_t mask;
	uint32_t host;

	if (prefix == 0u || prefix > 30u || ip == 0u || ip == UINT32_MAX ||
	    (ip & 0xf0000000u) == 0xe0000000u || (ip & 0xff000000u) == 0x7f000000u) {
		return false;
	}

	mask = UINT32_MAX << (32u - prefix);
	host = ip & ~mask;
	if (host == 0u || host == ~mask) {
		return false;
	}

	if (gw != 0u && ((gw & mask) != (ip & mask) || gw == ip || gw == (ip & mask) ||
			 gw == ((ip & mask) | ~mask))) {
		return false;
	}

	return true;
}

static void encode_message(uint8_t *buf, const struct prov_message *msg)
{
	memset(buf, 0, PROV_PACKET_SIZE);
	sys_put_be32(PROV_MAGIC, &buf[0]);
	buf[4] = msg->version;
	buf[5] = msg->op;
	buf[6] = msg->status;
	buf[7] = msg->prefix;
	sys_put_be32(msg->xid, &buf[8]);
	memcpy(&buf[12], msg->mac, NET_ETH_ADDR_LEN);
	memcpy(&buf[20], msg->ip.s4_addr, NET_IPV4_ADDR_SIZE);
	memcpy(&buf[24], msg->gateway.s4_addr, NET_IPV4_ADDR_SIZE);
	sys_put_be32(msg->token, &buf[28]);
	sys_put_be32(crc32_ieee(buf, PROV_CRC_OFFSET), &buf[PROV_CRC_OFFSET]);
}

static bool decode_message(const uint8_t *buf, size_t len, struct prov_message *msg)
{
	if (len != PROV_PACKET_SIZE || sys_get_be32(&buf[0]) != PROV_MAGIC ||
	    buf[4] != PROV_VERSION ||
	    sys_get_be32(&buf[PROV_CRC_OFFSET]) != crc32_ieee(buf, PROV_CRC_OFFSET)) {
		return false;
	}

	msg->version = buf[4];
	msg->op = buf[5];
	msg->status = buf[6];
	msg->prefix = buf[7];
	msg->xid = sys_get_be32(&buf[8]);
	memcpy(msg->mac, &buf[12], NET_ETH_ADDR_LEN);
	memcpy(msg->ip.s4_addr, &buf[20], NET_IPV4_ADDR_SIZE);
	memcpy(msg->gateway.s4_addr, &buf[24], NET_IPV4_ADDR_SIZE);
	msg->token = sys_get_be32(&buf[28]);
	return true;
}

/*
 * The stack picks a reply's source address by itself, and for a multicast
 * destination it never picks a link-local one: before the host configures
 * the board, that would send from 0.0.0.0. Bind the reply socket to
 * prov_addr instead, and connect it to the group so that it never receives.
 * The bound address changes with prov_addr, so apply_config() closes it.
 */
static int open_reply_sock(void)
{
	struct sockaddr_in local = {
		.sin_family = AF_INET,
		.sin_addr = prov_addr,
	};
	struct sockaddr_in group = {
		.sin_family = AF_INET,
		.sin_port = htons(EMACZ_PROVISION_PORT),
		.sin_addr.s_addr = htonl(PROV_MULTICAST_ADDR),
	};
	int sock;

	if (prov_reply_sock >= 0) {
		return prov_reply_sock;
	}

	sock = zsock_socket(AF_INET, SOCK_DGRAM, IPPROTO_UDP);
	if (sock < 0) {
		return -errno;
	}
	/* without an installed address, fall back to the stack's choice */
	if ((prov_addr_installed &&
	     zsock_bind(sock, (struct sockaddr *)&local, sizeof(local)) < 0) ||
	    zsock_connect(sock, (struct sockaddr *)&group, sizeof(group)) < 0) {
		int err = -errno;

		(void)zsock_close(sock);
		return err;
	}

	prov_reply_sock = sock;
	return sock;
}

static void close_reply_sock(void)
{
	if (prov_reply_sock >= 0) {
		(void)zsock_close(prov_reply_sock);
		prov_reply_sock = -1;
	}
}

static int send_response(uint8_t op, uint8_t status, uint32_t xid)
{
	uint8_t payload[PROV_PACKET_SIZE];
	struct prov_message response = {
		.version = PROV_VERSION,
		.op = op,
		.status = status,
		.prefix = prov_prefix,
		.xid = xid,
		.ip = prov_addr,
		.gateway = prov_gateway,
		.token = prov_token,
	};
	int sock = open_reply_sock();

	if (sock < 0) {
		return sock;
	}

	memcpy(response.mac, prov_mac, sizeof(response.mac));
	encode_message(payload, &response);
	if (zsock_send(sock, payload, sizeof(payload), 0) < 0) {
		return -errno;
	}
	return 0;
}

static int apply_config(const struct prov_message *request)
{
	struct in_addr mask;
	struct in_addr old_mask;
	struct in_addr old_addr = prov_addr;

	if (!addr_is_usable(&request->ip, request->prefix, &request->gateway)) {
		return -EINVAL;
	}

	if (prov_addr_installed && !net_if_ipv4_addr_rm(prov_iface, &old_addr)) {
		return -EIO;
	}
	prov_addr_installed = false;
	/* bound to the address just removed, or to none */
	close_reply_sock();

	if (net_if_ipv4_addr_add(prov_iface, &request->ip, NET_ADDR_MANUAL, 0) == NULL) {
		if (net_if_ipv4_addr_add(prov_iface, &old_addr, NET_ADDR_MANUAL, 0) != NULL) {
			prefix_to_mask(prov_prefix, &old_mask);
			(void)net_if_ipv4_set_netmask_by_addr(prov_iface, &old_addr, &old_mask);
			prov_addr_installed = true;
		}
		return -ENOMEM;
	}

	prefix_to_mask(request->prefix, &mask);
	if (!net_if_ipv4_set_netmask_by_addr(prov_iface, &request->ip, &mask)) {
		(void)net_if_ipv4_addr_rm(prov_iface, &request->ip);
		if (net_if_ipv4_addr_add(prov_iface, &old_addr, NET_ADDR_MANUAL, 0) != NULL) {
			prefix_to_mask(prov_prefix, &old_mask);
			(void)net_if_ipv4_set_netmask_by_addr(prov_iface, &old_addr, &old_mask);
			prov_addr_installed = true;
		}
		return -EIO;
	}

	net_if_ipv4_set_gw(prov_iface, &request->gateway);
	prov_addr_installed = true;
	prov_addr = request->ip;
	prov_gateway = request->gateway;
	prov_prefix = request->prefix;
	return 0;
}

static void poll_jtag_mailbox(void)
{
	static uint32_t last_applied_epoch;
	static bool armed;
	uint32_t magic = emacz_jtag_mailbox.magic;
	uint32_t epoch;
	struct prov_message request = {0};
	int ret;

	if (magic != EMACZ_JTAG_MAILBOX_MAGIC) {
		/* Host hasn't populated the block yet (or wrote a stale zero).
		 * Once armed, a magic drop-out clears armed so a fresh
		 * host writer restarts the epoch-diff logic cleanly.
		 */
		armed = false;
		return;
	}
	epoch = emacz_jtag_mailbox.epoch;
	if (!armed) {
		/* First poll after boot, or after a magic drop-out.
		 *
		 * Do not blanket-skip here. The host stages the mailbox over
		 * JTAG-AXI, and in the normal bring-up flow it can land before
		 * the CPU is released -- so an unconditional skip drops a live
		 * request while still writing ack_epoch, i.e. reports success
		 * for an address that was never applied.
		 *
		 * Discriminate on the mailbox's own ack field instead. Anything
		 * already serviced -- including contents persisted in DDR from a
		 * previous board run, which is what this guard exists for --
		 * carries ack_epoch == epoch. Everything else is pending work.
		 */
		armed = true;
		if (emacz_jtag_mailbox.ack_epoch == epoch) {
			last_applied_epoch = epoch;
			return;
		}
	} else if (epoch == last_applied_epoch) {
		return;
	}

	sys_put_be32(emacz_jtag_mailbox.ip, request.ip.s4_addr);
	sys_put_be32(emacz_jtag_mailbox.gateway, request.gateway.s4_addr);
	request.prefix = (uint8_t)emacz_jtag_mailbox.prefix;
	memcpy(request.mac, prov_mac, sizeof(request.mac));

	if (!addr_is_usable(&request.ip, request.prefix, &request.gateway)) {
		emacz_jtag_mailbox.status = -EINVAL;
		emacz_jtag_mailbox.ack_epoch = epoch;
		last_applied_epoch = epoch;
		return;
	}

	ret = apply_config(&request);
	emacz_jtag_mailbox.status = ret;
	emacz_jtag_mailbox.ack_epoch = epoch;
	last_applied_epoch = epoch;
}

static int open_request_sock(void)
{
	/* INADDR_ANY: requests arrive as 255.255.255.255 broadcasts */
	struct sockaddr_in addr = {
		.sin_family = AF_INET,
		.sin_port = htons(EMACZ_PROVISION_PORT),
		.sin_addr.s_addr = htonl(INADDR_ANY),
	};
	int sock = zsock_socket(AF_INET, SOCK_DGRAM, IPPROTO_UDP);

	if (sock < 0) {
		return -errno;
	}
	if (zsock_bind(sock, (struct sockaddr *)&addr, sizeof(addr)) < 0) {
		int err = -errno;

		(void)zsock_close(sock);
		return err;
	}
	return sock;
}

static void handle_request(const struct prov_message *request)
{
	if (request->op == PROV_DISCOVER) {
		prov_xid = request->xid;
		prov_token =
			k_cycle_get_32() ^ request->xid ^ sys_get_be32(&prov_mac[2]) ^ 0x455a4346u;
		if (prov_token == 0u) {
			prov_token = 1u;
		}
		(void)send_response(PROV_OFFER, PROV_OK, request->xid);
		return;
	}

	if (request->op != PROV_CONFIG || memcmp(request->mac, prov_mac, sizeof(prov_mac)) != 0) {
		return;
	}
	if (request->xid != prov_xid || request->token == 0u || request->token != prov_token) {
		(void)send_response(PROV_NACK, PROV_BAD_TOKEN, request->xid);
		return;
	}
	if (!addr_is_usable(&request->ip, request->prefix, &request->gateway)) {
		(void)send_response(PROV_NACK, PROV_BAD_ADDRESS, request->xid);
		return;
	}

	if (apply_config(request) != 0) {
		(void)send_response(PROV_NACK, PROV_APPLY_FAILED, request->xid);
	} else {
		prov_token = 0u;
		(void)send_response(PROV_ACK, PROV_OK, request->xid);
	}
}

static void provision_thread_fn(void *arg1, void *arg2, void *arg3)
{
	int sock = -1;

	ARG_UNUSED(arg1);
	ARG_UNUSED(arg2);
	ARG_UNUSED(arg3);

	while (true) {
		/* one byte more than a message, so an oversized one shows */
		uint8_t buf[PROV_PACKET_SIZE + 1u];
		struct prov_message request;
		struct zsock_pollfd pfd;
		ssize_t len;

		/* Poll the JTAG mailbox every iteration, not just on the idle
		 * tick. It is the fallback path for when the network is
		 * unusable, so it must not be starved by the very traffic that
		 * would make someone reach for it: a steady stream of broadcast
		 * datagrams to port 5004 keeps the socket readable indefinitely.
		 */
		poll_jtag_mailbox();

		if (sock < 0) {
			/* keep retrying: the mailbox above must stay serviced */
			sock = open_request_sock();
			if (sock < 0) {
				k_msleep(PROV_MAILBOX_POLL_MS);
				continue;
			}
		}

		pfd.fd = sock;
		pfd.events = ZSOCK_POLLIN;
		if (zsock_poll(&pfd, 1, PROV_MAILBOX_POLL_MS) <= 0 ||
		    (pfd.revents & ZSOCK_POLLIN) == 0) {
			continue;
		}

		len = zsock_recv(sock, buf, sizeof(buf), ZSOCK_MSG_DONTWAIT);
		if (len < 0 || !decode_message(buf, (size_t)len, &request)) {
			continue;
		}
		handle_request(&request);
	}
}

int emacz_provision_start(struct net_if *iface)
{
	const struct net_linkaddr *link_addr;
	struct in_addr mask;
	int ret = 0;
	int up;

	if (iface == NULL) {
		return -EINVAL;
	}
	link_addr = net_if_get_link_addr(iface);
	if (link_addr == NULL || link_addr->len != NET_ETH_ADDR_LEN) {
		return -EINVAL;
	}

	prov_iface = iface;
	memcpy(prov_mac, link_addr->addr, sizeof(prov_mac));
	prov_addr.s4_addr[0] = 169u;
	prov_addr.s4_addr[1] = 254u;
	prov_addr.s4_addr[2] = (uint8_t)(prov_mac[4] ^ 0x80u);
	prov_addr.s4_addr[3] = prov_mac[5];
	if (prov_addr.s4_addr[2] == 0u || prov_addr.s4_addr[2] == 255u) {
		prov_addr.s4_addr[2] = 1u;
	}
	if (prov_addr.s4_addr[3] == 0u || prov_addr.s4_addr[3] == 255u) {
		prov_addr.s4_addr[3] = 1u;
	}
	memset(&prov_gateway, 0, sizeof(prov_gateway));
	prov_prefix = 16u;

	/* Bring up the link-local bootstrap, but do not abort on failure.
	 *
	 * The provisioning thread also carries the JTAG mailbox poller, which
	 * is the only way to reach a board whose network side is unusable --
	 * exactly the situation these failures describe. Returning early left
	 * no listener, no mailbox poll, and no retry: a PHY that has no
	 * carrier yet at boot bricked provisioning for the whole run.
	 *
	 * Report the first error to the caller for logging, then start the
	 * thread regardless.
	 */
	if (net_if_ipv4_addr_add(iface, &prov_addr, NET_ADDR_MANUAL, 0) == NULL) {
		ret = -ENOMEM;
	} else {
		prov_addr_installed = true;
		prefix_to_mask(prov_prefix, &mask);
		if (!net_if_ipv4_set_netmask_by_addr(iface, &prov_addr, &mask)) {
			ret = -EIO;
		}
	}

	up = net_if_up(iface);
	if (up != 0 && up != -EALREADY && ret == 0) {
		ret = up;
	}

	k_thread_create(&prov_thread, prov_thread_stack, K_THREAD_STACK_SIZEOF(prov_thread_stack),
			provision_thread_fn, NULL, NULL, NULL, PROV_THREAD_PRIORITY, 0, K_NO_WAIT);
	k_thread_name_set(&prov_thread, "emacz_provision");
	return ret;
}
```

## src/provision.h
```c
/*
 * SPDX-License-Identifier: Apache-2.0
 * Copyright (c) 2026 Leonardo Capossio - bard0 design
 */
#ifndef EMACZ_PROVISION_H_
#define EMACZ_PROVISION_H_

#include <stdbool.h>
#include <zephyr/net/net_if.h>
#include <zephyr/net/net_ip.h>

#define EMACZ_PROVISION_PORT 5004u

/* Host->board JTAG-AXI mailbox at EMACZ_JTAG_MAILBOX_ADDR (0x9FFFE000, hostio.h).
 * The board polls it from the provisioning thread; the host pokes it via
 * fcapz when the network path is not yet reachable (typical bring-up).
 *
 * Wire format (little-endian, 32-byte header, matches host script):
 *   +0x00  u32 magic        = 0x50525856 ("PRVX", host writes)
 *   +0x04  u32 epoch        (host bumps each new request)
 *   +0x08  u32 ip           (network-byte-order IPv4 address)
 *   +0x0C  u32 gateway      (network-byte-order, 0 = none)
 *   +0x10  u32 prefix       (CIDR bits, 1..30)
 *   +0x14  u32 reserved     (must be 0)
 *   +0x18  u32 ack_epoch    (board mirrors epoch on success)
 *   +0x1C  i32 status       (board writes: 0 = ok, negative errno on failure)
 *
 * `magic` doubles as a sentinel: on cold boot the block is zero (or garbage
 * from a prior run), so the board only reacts when both `magic == 0x50525856`
 * AND `epoch != last_applied_epoch`. The host writes the whole header, then
 * bumps epoch last, then polls ack_epoch to observe completion.
 */
#define EMACZ_JTAG_MAILBOX_MAGIC 0x50525856u /* 'PRVX' */

struct emacz_jtag_mailbox {
	uint32_t magic;
	uint32_t epoch;
	uint32_t ip;
	uint32_t gateway;
	uint32_t prefix;
	uint32_t reserved;
	uint32_t ack_epoch;
	int32_t status;
};

int emacz_provision_start(struct net_if *iface);

#endif /* EMACZ_PROVISION_H_ */
```
